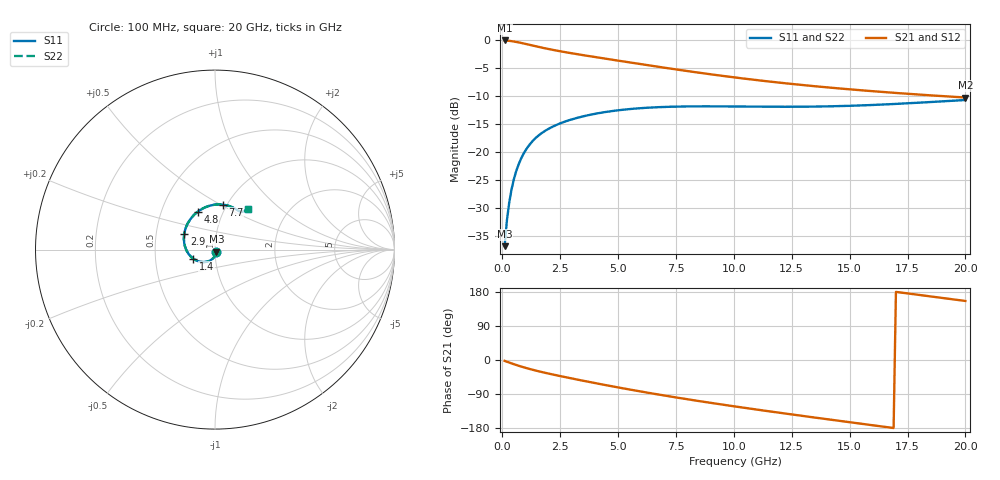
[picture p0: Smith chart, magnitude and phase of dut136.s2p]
! Touchstone file exported from HFSS 2023.1.0
!  File:  D:/Users/fzz/RDL_TSV/temp_RDL_TSV_136_1778751820.aedt
!  Generated:  5:56:59 %x4E0B%x5348  5%x6708 14, 2026
!  Design:  RDL_TSV
!  Project:  temp_RDL_TSV_136_1778751820
!  Setup:  Setup1
!  Solution:  Sweep
! Variables:
!  dtsv = 20.04um
!  hbump = 3um
!  htsv = 88.56um
!  ldown = 354.16um
!  lrdl = 358.87um
!  p = 40
!  p1 = 59.45um
!  rhole = 10um
!  subl = 2497.96um
!  t = 450um
!  tdown = 4.49um
!  trdl = 3.94um
!  viad = 10um
!  wdown = 24.3um
!  wrdl = 26.26um
!  xbump = 18um
# GHz S MA R 50.000000
! Terminal data exported
! Port[1] = TM1_1_T1
! Port[2] = TM1_4_T1
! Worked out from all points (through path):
!   200 points, 100 MHz to 20 GHz, reference 50 ohm
!   highest |S21| = -0.09 dB at 100 MHz (marker M1); lowest = -10.3 dB at 20 GHz (marker M2)
!   group delay of S21, straight-line fit = 26.5 ps
!   lowest |S11| = -36.9 dB at 100 MHz (marker M3), VSWR 1.03, Z = 50.8 - j1.21 ohm
!   |S11| at or under -10 dB: start of sweep to end of sweep
!   |S22| runs from -36.9 to -10.7 dB; largest |S21 - S12| = 1.1e-14
!   S11 on the Smith chart (normalised r, x): 100 MHz: 1.02, -0.02; 1.4 GHz: 0.78, -0.08; 2.9 GHz: 0.70, +0.13; 4.8 GHz: 0.76, +0.34; 7.7 GHz: 0.96, +0.51; 20 GHz: 1.28, +0.63
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0.1  0.01435 -56.2  0.9899 -2.3  0.9899 -2.3  0.01435 -56.2
! Gamma 0 0 0 0
! Port Impedance 50 0 50 0
0.2  0.02443 -78.2  0.9866 -4.6  0.9866 -4.6  0.02443 -78.2
0.3  0.03534 -90.7  0.9818 -6.8  0.9818 -6.8  0.03534 -90.7
0.4  0.04626 -99.9  0.9758 -9.0  0.9758 -9.0  0.04626 -99.9
0.5  0.0569 -107.8  0.9687 -11.1  0.9687 -11.1  0.05689 -107.8
0.7  0.07683 -121.1  0.9517 -15.1  0.9517 -15.1  0.07683 -121.1
0.9  0.09468 -132.7  0.9325 -18.9  0.9325 -18.9  0.09468 -132.7
1.1  0.1104 -143.0  0.9123 -22.4  0.9123 -22.4  0.1104 -143.1
1.4  0.1305 -156.9  0.8824 -27.2  0.8824 -27.2  0.1305 -156.9
2  0.1608 180.0  0.8294 -35.9  0.8294 -35.9  0.1609 179.9
2.9  0.1922 153.1  0.7663 -47.5  0.7663 -47.5  0.1923 153.0
3.5  0.2078 138.7  0.7311 -54.9  0.7311 -54.9  0.2081 138.6
4.8  0.2324 114.1  0.6633 -70.1  0.6633 -70.1  0.2327 114.0
5.7  0.2433 100.9  0.6208 -80.1  0.6208 -80.1  0.2437 100.9
6.8  0.2511 88.2  0.5731 -91.7  0.5731 -91.7  0.2516 88.1
7.7  0.2541 79.9  0.5379 -100.7  0.5379 -100.7  0.2546 79.8
8.9  0.2551 71.4  0.4964 -112.2  0.4964 -112.2  0.2556 71.3
10.1  0.2543 65.2  0.4607 -123.0  0.4607 -123.0  0.2547 65.1
11.7  0.2529 59.7  0.4213 -136.9  0.4213 -136.9  0.2533 59.6
13.4  0.2537 56.3  0.3876 -151.1  0.3876 -151.1  0.254 56.2
16.7  0.2663 53.2  0.3396 -177.9  0.3396 -177.9  0.2667 53.2
20  0.2906 50.5  0.3058 155.8  0.3058 155.8  0.291 50.5
